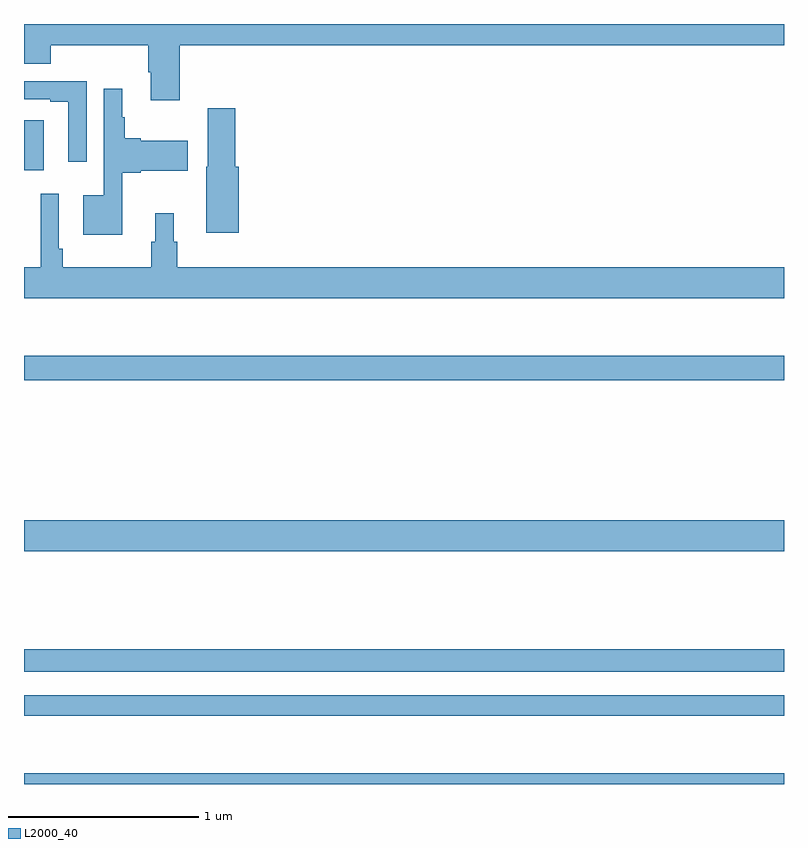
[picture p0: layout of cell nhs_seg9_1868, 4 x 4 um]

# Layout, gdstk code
import gdstk
lib = gdstk.Library(unit=1e-6, precision=1e-09)
def R(c, l, rs):  # rectangles x0, y0, x1, y1
    for r in rs: c.add(gdstk.rectangle(r[:2], r[2:], *l))
def P(c, l, *ps):  # polygons
    for p in ps: c.add(gdstk.Polygon(p, *l))
L2000_40 = (2000, 40)

nhs_seg9_1868 = lib.new_cell('nhs_seg9_1868')
R(nhs_seg9_1868, L2000_40, [(215,1224.5,219,1224.556), (215,1224.858,219,1224.966), (215,1225.092,219,1225.208), (215,1225.724,219,1225.888), (215,1226.626,219,1226.755), (215,1227.731,215.104,1227.994)])
P(nhs_seg9_1868, L2000_40, [(215.819,1228.388),(219,1228.388),(219,1228.5),(215,1228.5),(215,1228.29),(215.141,1228.29),(215.141,1228.388),(215.654,1228.388),(215.654,1228.246),(215.666,1228.246),(215.666,1228.098),(215.819,1228.098)],
  [(215.331,1228.2),(215,1228.2),(215,1228.104),(215.138,1228.104),(215.138,1228.092),(215.234,1228.092),(215.234,1227.774),(215.331,1227.774)],
  [(215.518,1227.716),(215.614,1227.716),(215.614,1227.728),(215.863,1227.728),(215.863,1227.886),(215.614,1227.886),(215.614,1227.899),(215.53,1227.899),(215.53,1228.01),(215.518,1228.01),(215.518,1228.159),(215.421,1228.159),(215.421,1227.598),(215.312,1227.598),(215.312,1227.392),(215.518,1227.392)],
  [(216.131,1227.75),(216.113,1227.75),(216.113,1228.057),(215.966,1228.057),(215.966,1227.75),(215.96,1227.75),(215.96,1227.402),(216.131,1227.402)],
  [(219,1227.22),(215.807,1227.22),(215.807,1227.354),(215.788,1227.354),(215.788,1227.505),(215.69,1227.505),(215.69,1227.354),(215.671,1227.354),(215.671,1227.22),(215.204,1227.22),(215.204,1227.316),(215.184,1227.316),(215.184,1227.607),(215.087,1227.607),(215.087,1227.22),(215,1227.22),(215,1227.056),(219,1227.056)])

lib.write_gds('nhs_seg9_1868.gds')
